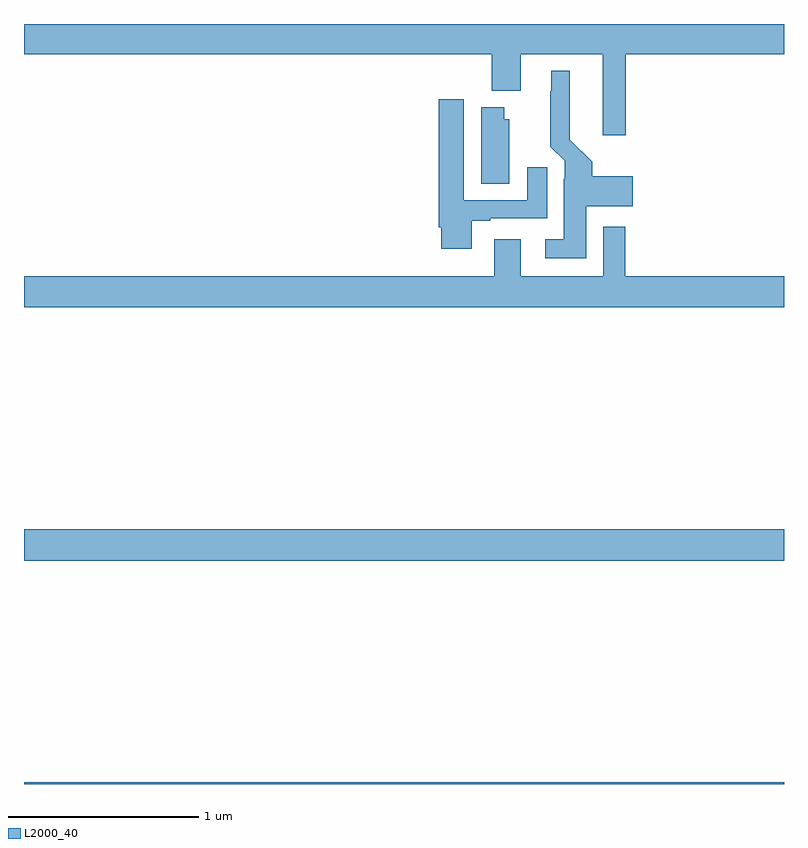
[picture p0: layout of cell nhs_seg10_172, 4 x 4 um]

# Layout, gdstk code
import gdstk
lib = gdstk.Library(unit=1e-6, precision=1e-09)
def R(c, l, rs):  # rectangles x0, y0, x1, y1
    for r in rs: c.add(gdstk.rectangle(r[:2], r[2:], *l))
def P(c, l, *ps):  # polygons
    for p in ps: c.add(gdstk.Polygon(p, *l))
L2000_40 = (2000, 40)

nhs_seg10_172 = lib.new_cell('nhs_seg10_172')
R(nhs_seg10_172, L2000_40, [(119,1272.5,123,1272.508), (119,1273.676,123,1273.84)])
P(nhs_seg10_172, L2000_40, [(122.168,1276.34),(123,1276.34),(123,1276.5),(119,1276.5),(119,1276.34),(121.463,1276.34),(121.463,1276.148),(121.615,1276.148),(121.615,1276.34),(122.045,1276.34),(122.045,1275.915),(122.168,1275.915)],
  [(121.96,1275.542),(122.203,1275.542),(122.203,1275.7),(121.991,1275.7),(121.991,1275.774),(121.873,1275.892),(121.873,1276.255),(121.775,1276.255),(121.775,1276.145),(121.771,1276.145),(121.771,1275.854),(121.845,1275.78),(121.845,1275.686),(121.841,1275.686),(121.841,1275.367),(121.743,1275.367),(121.743,1275.266),(121.96,1275.266)],
  [(121.357,1275.465),(121.453,1275.465),(121.453,1275.477),(121.753,1275.477),(121.753,1275.745),(121.649,1275.745),(121.649,1275.573),(121.315,1275.573),(121.315,1276.105),(121.184,1276.105),(121.184,1275.43),(121.196,1275.43),(121.196,1275.318),(121.357,1275.318)],
  [(121.555,1275.999),(121.528,1275.999),(121.528,1276.063),(121.406,1276.063),(121.406,1275.658),(121.555,1275.658)],
  [(123,1275.172),(122.165,1275.172),(122.165,1275.433),(122.049,1275.433),(122.049,1275.172),(121.615,1275.172),(121.615,1275.367),(121.475,1275.367),(121.475,1275.172),(119,1275.172),(119,1275.008),(123,1275.008)])

lib.write_gds('nhs_seg10_172.gds')
